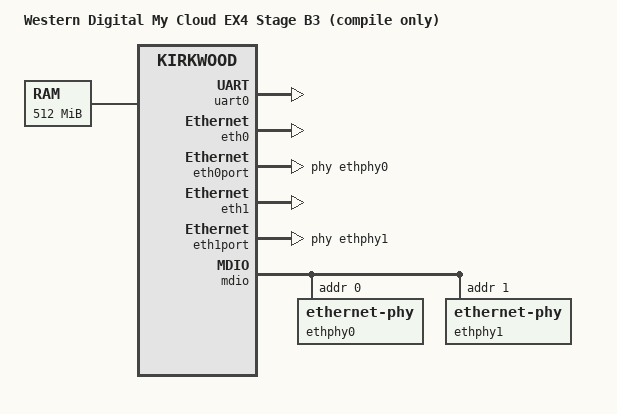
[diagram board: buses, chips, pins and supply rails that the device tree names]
// SPDX-License-Identifier: GPL-2.0-only
/*
 * Diskless dual-link, MAC-handoff and SoC-thermal research tree for WD EX4.
 *
 * Copyright (c) 2026 PhantoWD EX4 contributors
 */

/dts-v1/;

#include "marvell/kirkwood.dtsi"
#include "marvell/kirkwood-6282.dtsi"

/ {
	model = "Western Digital My Cloud EX4 Stage B3 (compile only)";
	compatible = "wd,my-cloud-ex4", "marvell,kirkwood-88f6282",
		     "marvell,kirkwood";

	memory@0 {
		device_type = "memory";
		reg = <0x00000000 0x20000000>;
	};

	chosen {
		stdout-path = "serial0:115200n8";
	};

	aliases {
		serial0 = &uart0;
		ethernet0 = &eth0port;
		ethernet1 = &eth1port;
	};
};

&uart0 {
	status = "okay";
};

/* Candidate PHY addresses from the attributed community EX4 DTS. */
&eth0 {
	status = "okay";
};

&eth0port {
	phy-handle = <&ethphy0>;
};

&eth1 {
	status = "okay";
};

&eth1port {
	phy-handle = <&ethphy1>;
};

&mdio {
	status = "okay";

	ethphy0: ethernet-phy@0 {
		reg = <0>;
	};

	ethphy1: ethernet-phy@1 {
		reg = <1>;
	};
};

&uart1 {
	status = "disabled";
};

&gpio0 {
	status = "disabled";
};

&gpio1 {
	status = "disabled";
};

&nand {
	status = "disabled";
};

&crypto_sram {
	status = "disabled";
};

&sata {
	status = "disabled";
};

&sata_phy0 {
	status = "disabled";
};

&sata_phy1 {
	status = "disabled";
};

&sdio {
	status = "disabled";
};

&usb0 {
	status = "disabled";
};

&pciec {
	status = "disabled";
};

&pcie0 {
	status = "disabled";
};

&pcie1 {
	status = "disabled";
};

&i2c0 {
	status = "disabled";
};

&i2c1 {
	status = "disabled";
};

&spi0 {
	status = "disabled";
};

&rtc {
	status = "disabled";
};

&thermal {
	status = "okay";
};

&wdt {
	status = "disabled";
};

&cesa {
	status = "disabled";
};

&dma0 {
	status = "disabled";
};

&dma1 {
	status = "disabled";
};

&audio0 {
	status = "disabled";
};
